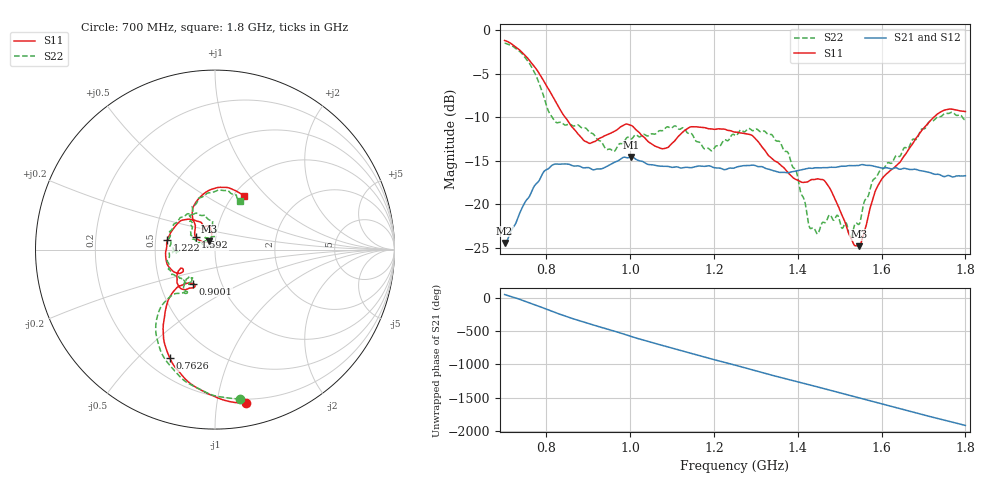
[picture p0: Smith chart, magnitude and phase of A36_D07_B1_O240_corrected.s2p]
! Created with skrf 1.9.0 (http://scikit-rf.org).
# Hz S RI R 50.0
!freq ReS11 ImS11 ReS21 ImS21 ReS12 ImS12 ReS22 ImS22
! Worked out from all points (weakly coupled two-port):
!   1601 points, 700 MHz to 1.8 GHz, reference 50 ohm
!   highest |S21| = -14.57 dB at 1.002 GHz (marker M1); lowest = -24.5 dB at 700 MHz (marker M2)
!   lowest |S11| = -24.8 dB at 1.546 GHz (marker M3), VSWR 1.12, Z = 46.6 + j4.42 ohm
!   |S11| at or under -10 dB: 844.4 MHz to 1.725 GHz (880.3 MHz wide, 68.5 % of centre)
!   |S22| runs from -23.8 to -1.5 dB; largest |S21 - S12| = 0.0035
!   S11 on the Smith chart (normalised r, x): 700 MHz: 0.17, -1.21; 762.6 MHz: 0.30, -0.63; 900.1 MHz: 0.73, -0.29; 1.222 GHz: 0.58, +0.07; 1.592 GHz: 0.80, +0.11; 1.8 GHz: 1.12, +0.76
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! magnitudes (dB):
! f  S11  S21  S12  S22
! 700 MHz  -1.2  -24.5  -24.2  -1.5
! 762.6 MHz  -3.7  -18.8  -18.7  -4.1
! 818.9 MHz  -7.9  -15.4  -15.5  -10.4
! 883.6 MHz  -12.4  -15.7  -15.6  -11.2
! 900.1 MHz  -13.0  -15.8  -15.8  -11.6
! 958.5 MHz  -11.7  -15.3  -15.3  -13.9
! 1.002 GHz  -10.9  -14.6  -14.7  -12.5
! 1.067 GHz  -13.5  -15.6  -15.6  -11.6
! 1.144 GHz  -11.1  -15.8  -15.8  -11.8
! 1.193 GHz  -11.3  -15.7  -15.6  -13.9
! 1.222 GHz  -11.4  -16.0  -16.0  -12.7
! 1.25 GHz  -11.7  -15.8  -15.7  -12.1
! 1.357 GHz  -15.4  -16.3  -16.3  -12.8
! 1.396 GHz  -17.2  -16.2  -16.2  -16.2
! 1.434 GHz  -17.2  -15.9  -15.8  -22.8
! 1.469 GHz  -17.7  -15.8  -15.8  -21.8
! 1.526 GHz  -23.9  -15.6  -15.6  -23.8
! 1.546 GHz  -24.8  -15.5  -15.5  -22.3
! 1.592 GHz  -17.8  -15.8  -15.7  -16.5
! 1.617 GHz  -16.3  -15.9  -15.8  -15.2
! 1.732 GHz  -9.7  -16.6  -16.6  -10.0
! 1.8 GHz  -9.4  -16.7  -16.7  -10.3
